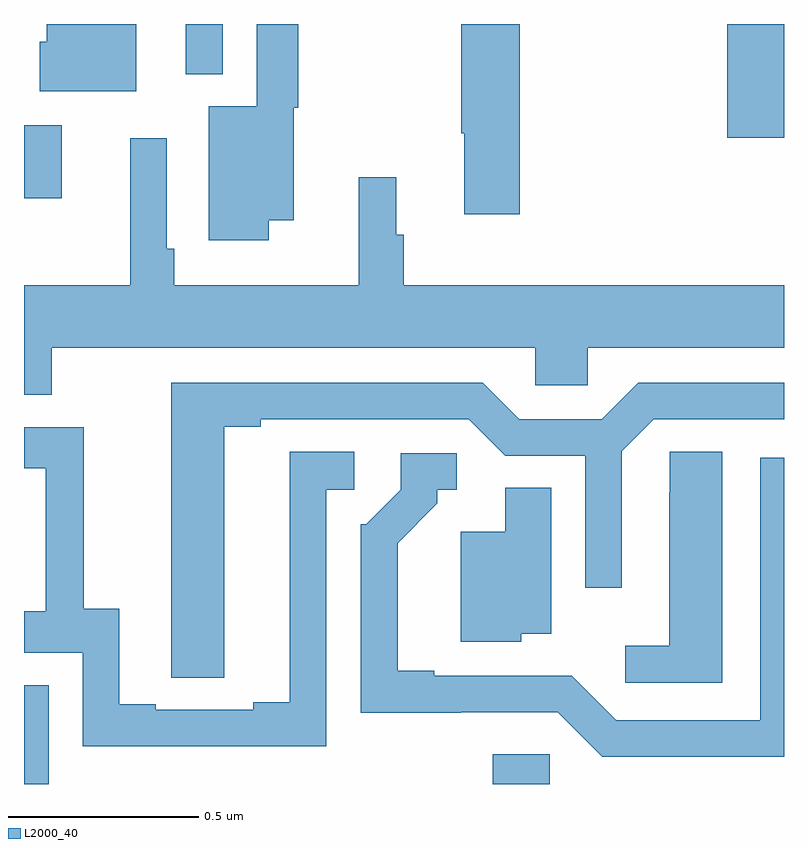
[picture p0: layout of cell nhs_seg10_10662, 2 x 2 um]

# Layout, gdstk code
import gdstk
lib = gdstk.Library(unit=1e-6, precision=1e-09)
def R(c, l, rs):  # rectangles x0, y0, x1, y1
    for r in rs: c.add(gdstk.rectangle(r[:2], r[2:], *l))
def P(c, l, *ps):  # polygons
    for p in ps: c.add(gdstk.Polygon(p, *l))
L2000_40 = (2000, 40)

nhs_seg10_10662 = lib.new_cell('nhs_seg10_10662')
R(nhs_seg10_10662, L2000_40, [(245,1300.5,245.065,1300.76), (246.233,1300.5,246.384,1300.578), (245,1302.042,245.099,1302.234), (246.851,1302.201,247,1302.5), (245.426,1302.368,245.523,1302.5)])
P(nhs_seg10_10662, L2000_40, [(245.644,1301.984),(245.71,1301.984),(245.71,1302.279),(245.722,1302.279),(245.722,1302.5),(245.613,1302.5),(245.613,1302.283),(245.486,1302.283),(245.486,1301.931),(245.644,1301.931)],
  [(246.305,1302.5),(246.151,1302.5),(246.151,1302.212),(246.158,1302.212),(246.158,1302),(246.305,1302)],
  [(245.296,1302.5),(245.06,1302.5),(245.06,1302.453),(245.042,1302.453),(245.042,1302.323),(245.296,1302.323)],
  [(245.073,1301.648),(246.345,1301.648),(246.345,1301.55),(246.483,1301.55),(246.483,1301.648),(247,1301.648),(247,1301.812),(245.999,1301.812),(245.999,1301.946),(245.98,1301.946),(245.98,1302.097),(245.881,1302.097),(245.881,1301.812),(245.396,1301.812),(245.396,1301.908),(245.376,1301.908),(245.376,1302.199),(245.279,1302.199),(245.279,1301.812),(245,1301.812),(245,1301.524),(245.073,1301.524)],
  [(245.527,1301.44),(245.623,1301.44),(245.623,1301.46),(246.171,1301.46),(246.267,1301.364),(246.477,1301.364),(246.477,1301.016),(246.573,1301.016),(246.573,1301.376),(246.657,1301.46),(247,1301.46),(247,1301.556),(246.617,1301.556),(246.521,1301.46),(246.303,1301.46),(246.207,1301.556),(245.387,1301.556),(245.387,1300.888),(245.388,1300.888),(245.388,1300.78),(245.527,1300.78)],
  [(245.796,1301.274),(245.869,1301.274),(245.869,1301.375),(245.699,1301.375),(245.699,1300.715),(245.603,1300.715),(245.603,1300.695),(245.347,1300.695),(245.347,1300.71),(245.251,1300.71),(245.251,1300.961),(245.157,1300.961),(245.157,1301.439),(245,1301.439),(245,1301.331),(245.057,1301.331),(245.057,1300.954),(245,1300.954),(245,1300.845),(245.154,1300.845),(245.154,1300.599),(245.796,1300.599)],
  [(246.838,1301.375),(246.699,1301.375),(246.699,1301.267),(246.698,1301.267),(246.698,1300.864),(246.582,1300.864),(246.582,1300.767),(246.838,1300.767)],
  [(247,1301.358),(246.938,1301.358),(246.938,1300.668),(246.558,1300.668),(246.441,1300.785),(246.079,1300.785),(246.079,1300.798),(245.983,1300.798),(245.983,1301.134),(246.088,1301.239),(246.088,1301.274),(246.139,1301.274),(246.139,1301.37),(245.991,1301.37),(245.991,1301.274),(245.901,1301.184),(245.886,1301.184),(245.886,1300.688),(246.149,1300.688),(246.149,1300.689),(246.405,1300.689),(246.522,1300.572),(247,1300.572)],
  [(246.309,1300.895),(246.388,1300.895),(246.388,1301.279),(246.266,1301.279),(246.266,1301.164),(246.149,1301.164),(246.149,1300.874),(246.309,1300.874)])

lib.write_gds('nhs_seg10_10662.gds')
